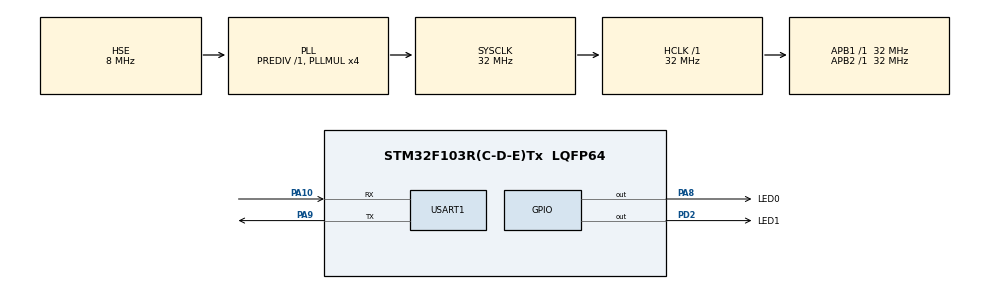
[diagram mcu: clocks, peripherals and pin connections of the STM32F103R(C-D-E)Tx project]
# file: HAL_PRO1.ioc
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Mcu.Family=STM32F1
Mcu.Name=STM32F103R(C-D-E)Tx
Mcu.Package=LQFP64
NVIC.PriorityGroup=NVIC_PRIORITYGROUP_4
NVIC.TIM2_IRQn=true\:0\:0\:false\:false\:true\:true\:true
NVIC.USART1_IRQn=true\:0\:0\:false\:false\:true\:true\:true
PA10.Mode=Asynchronous
PA10.Signal=USART1_RX
PA13.Mode=Serial_Wire
PA13.Signal=SYS_JTMS-SWDIO
PA14.Mode=Serial_Wire
PA14.Signal=SYS_JTCK-SWCLK
PA8.GPIO_Label=LED0
PA8.GPIO_Speed=GPIO_SPEED_FREQ_MEDIUM
PA8.PinState=GPIO_PIN_SET
PA8.Signal=GPIO_Output
PA9.Mode=Asynchronous
PA9.Signal=USART1_TX
PD0-OSC_IN.Mode=HSE-External-Oscillator
PD0-OSC_IN.Signal=RCC_OSC_IN
PD1-OSC_OUT.Mode=HSE-External-Oscillator
PD1-OSC_OUT.Signal=RCC_OSC_OUT
PD2.GPIO_Label=LED1
PD2.GPIO_Speed=GPIO_SPEED_FREQ_MEDIUM
PD2.PinState=GPIO_PIN_SET
PD2.Signal=GPIO_Output
ProjectManager.HeapSize=0x200
ProjectManager.StackSize=0x400
ProjectManager.TargetToolchain=Other Toolchains (GPDSC)
RCC.AHBFreq_Value=32000000
RCC.APB1Freq_Value=32000000
RCC.APB1TimFreq_Value=32000000
RCC.APB2Freq_Value=32000000
RCC.APB2TimFreq_Value=32000000
RCC.HCLKFreq_Value=32000000
RCC.PLLMUL=RCC_PLL_MUL4
RCC.PLLSourceVirtual=RCC_PLLSOURCE_HSE
RCC.SYSCLKFreq_VALUE=32000000
RCC.SYSCLKSource=RCC_SYSCLKSOURCE_PLLCLK
RCC.USBFreq_Value=32000000
TIM2.Period=499
TIM2.Prescaler=31999
USART1.VirtualMode=VM_ASYNC
VP_TIM2_VS_ClockSourceINT.Mode=Internal
board=custom

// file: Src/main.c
/* USER CODE BEGIN Header */
/**
  ******************************************************************************
  * @file           : main.c
  * @brief          : Main program body
  ******************************************************************************
  * @attention
  *
  * <h2><center>&copy; Copyright (c) 2020 STMicroelectronics.
  * All rights reserved.</center></h2>
  *
  * This software component is licensed by ST under BSD 3-Clause license,
  * the "License"; You may not use this file except in compliance with the
  * License. You may obtain a copy of the License at:
  *                        opensource.org/licenses/BSD-3-Clause
  *
  ******************************************************************************
  */
/* USER CODE END Header */

#include "main.h"
#include "tim.h"
#include "usart.h"
#include "gpio.h"
#include "stdio.h"

void SystemClock_Config(void);

/* USER CODE BEGIN 0 */
#define LED0_ON() HAL_GPIO_WritePin(GPIOA, GPIO_PIN_8, GPIO_PIN_RESET)
#define LED1_ON() HAL_GPIO_WritePin(GPIOD, GPIO_PIN_2, GPIO_PIN_RESET)
#define LED0_OFF() HAL_GPIO_WritePin(GPIOA, GPIO_PIN_8, GPIO_PIN_SET)
#define LED1_OFF() HAL_GPIO_WritePin(GPIOD, GPIO_PIN_2, GPIO_PIN_SET)

#define LED0_TOG() HAL_GPIO_TogglePin(GPIOA, GPIO_PIN_8)
#define LED1_TOG() HAL_GPIO_TogglePin(GPIOD, GPIO_PIN_2)

uint8_t str1[] = "============WYF欢迎你！============\r\n";
uint8_t hh = 0, mm = 0, ss = 0, ss05 = 0;
uint8_t str_buf[64];	//用来打印时间、LED灯状态
uint8_t Rx_dat[16];	//用来接受串口信息

void LED_Check()
{
	LED0_ON();
	HAL_Delay(500);
	LED1_ON();
	HAL_Delay(500);

	LED0_OFF();
	HAL_Delay(500);
	LED1_OFF();
	HAL_Delay(500);
}

void HAL_TIM_PeriodElapsedCallback(TIM_HandleTypeDef *htim)
{
	LED0_TOG();
	ss05++;
	if (ss05 == 2)
	{
		ss++;
		ss05 = 0;
		if (ss == 60)
		{
			ss = 0;
			mm++;
			if (mm == 60)
			{

				hh++;
			}
		}
	}
}

void HAL_UART_RxCpltCallback(UART_HandleTypeDef* huart)
{
	if (huart->Instance == USART1)
	{
		if (Rx_dat[0] == 0xBF&&Rx_dat[2] == 0xFB)
		{
			switch(Rx_dat[1])
			{
			case 0xA1:
				LED1_ON();
				sprintf((char *)str_buf, "%d:%d:%d  LED1打开！\r\n", hh, mm, ss);
				break;
			case 0xA2:
				LED1_OFF();
				sprintf((char *)str_buf, "%d:%d:%d  LED1关闭！\r\n", hh, mm, ss);
				break;
			default:
				sprintf((char *)str_buf, "%d:%d:%d  这是一个错误的命令！\r\n", hh, mm, ss);
				break;
			}
			HAL_UART_Transmit(&huart1, str_buf, sizeof(str_buf), 10000);
		}
	}
}
/* USER CODE END 0 */

int main(void)
{

  /* MCU Configuration--------------------------------------------------------*/

  /* Reset of all peripherals, Initializes the Flash interface and the Systick. */
  HAL_Init();

  /* Configure the system clock */
  SystemClock_Config();

  /* Initialize all configured peripherals */
  MX_GPIO_Init();
  MX_TIM2_Init();
  MX_USART1_UART_Init();
  /* USER CODE BEGIN 2 */
	LED_Check();		//灯光自检
	HAL_UART_Transmit(&huart1, str1, sizeof(str1), 10000);//发送欢迎字符串
	HAL_TIM_Base_Start_IT(&htim2);//打开定时器2，LED循环闪烁并记录系统运行时间
  /* USER CODE END 2 */

  /* Infinite loop */
  /* USER CODE BEGIN WHILE */
  while (1)
  {
	  HAL_UART_Receive_IT(&huart1, Rx_dat, 3);
    /* USER CODE END WHILE */

  }
}

void SystemClock_Config(void)
{
  RCC_OscInitTypeDef RCC_OscInitStruct = {0};
  RCC_ClkInitTypeDef RCC_ClkInitStruct = {0};

  /** Initializes the CPU, AHB and APB busses clocks
  */
  RCC_OscInitStruct.OscillatorType = RCC_OSCILLATORTYPE_HSE;
  RCC_OscInitStruct.HSEState = RCC_HSE_ON;
  RCC_OscInitStruct.HSEPredivValue = RCC_HSE_PREDIV_DIV1;
  RCC_OscInitStruct.HSIState = RCC_HSI_ON;
  RCC_OscInitStruct.PLL.PLLState = RCC_PLL_ON;
  RCC_OscInitStruct.PLL.PLLSource = RCC_PLLSOURCE_HSE;
  RCC_OscInitStruct.PLL.PLLMUL = RCC_PLL_MUL4;
  if (HAL_RCC_OscConfig(&RCC_OscInitStruct) != HAL_OK)
  {
    Error_Handler();
  }
  /** Initializes the CPU, AHB and APB busses clocks
  */
  RCC_ClkInitStruct.ClockType = RCC_CLOCKTYPE_HCLK|RCC_CLOCKTYPE_SYSCLK
                              |RCC_CLOCKTYPE_PCLK1|RCC_CLOCKTYPE_PCLK2;
  RCC_ClkInitStruct.SYSCLKSource = RCC_SYSCLKSOURCE_PLLCLK;
  RCC_ClkInitStruct.AHBCLKDivider = RCC_SYSCLK_DIV1;
  RCC_ClkInitStruct.APB1CLKDivider = RCC_HCLK_DIV1;
  RCC_ClkInitStruct.APB2CLKDivider = RCC_HCLK_DIV1;

  if (HAL_RCC_ClockConfig(&RCC_ClkInitStruct, FLASH_LATENCY_1) != HAL_OK)
  {
    Error_Handler();
  }
}

void Error_Handler(void)
{
}

/************************ (C) COPYRIGHT STMicroelectronics *****END OF FILE****/
